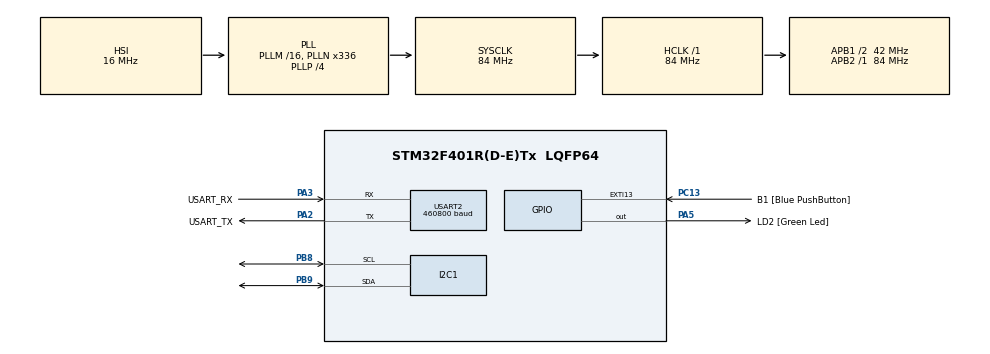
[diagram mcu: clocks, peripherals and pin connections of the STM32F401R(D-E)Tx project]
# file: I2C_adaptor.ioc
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Mcu.Family=STM32F4
Mcu.Name=STM32F401R(D-E)Tx
Mcu.Package=LQFP64
NVIC.PriorityGroup=NVIC_PRIORITYGROUP_0
NVIC.USART2_IRQn=true\:0\:0\:false\:false\:true\:true
PA13.GPIO_Label=TMS
PA13.Mode=Serial_Wire
PA13.Signal=SYS_JTMS-SWDIO
PA14.GPIO_Label=TCK
PA14.Mode=Serial_Wire
PA14.Signal=SYS_JTCK-SWCLK
PA2.GPIO_Label=USART_TX
PA2.GPIO_Mode=GPIO_MODE_AF_PP
PA2.GPIO_PuPd=GPIO_NOPULL
PA2.GPIO_Speed=GPIO_SPEED_FREQ_LOW
PA2.Mode=Asynchronous
PA2.Signal=USART2_TX
PA3.GPIO_Label=USART_RX
PA3.GPIO_Mode=GPIO_MODE_AF_PP
PA3.GPIO_PuPd=GPIO_NOPULL
PA3.GPIO_Speed=GPIO_SPEED_FREQ_LOW
PA3.Mode=Asynchronous
PA3.Signal=USART2_RX
PA5.GPIO_Label=LD2 [Green Led]
PA5.GPIO_Mode=GPIO_MODE_OUTPUT_PP
PA5.GPIO_PuPd=GPIO_NOPULL
PA5.GPIO_Speed=GPIO_SPEED_FREQ_LOW
PA5.Signal=GPIO_Output
PB3.GPIO_Label=SWO
PB3.Signal=SYS_JTDO-SWO
PB8.Mode=I2C
PB8.Signal=I2C1_SCL
PB9.Mode=I2C
PB9.Signal=I2C1_SDA
PC13-ANTI_TAMP.GPIO_Label=B1 [Blue PushButton]
PC13-ANTI_TAMP.GPIO_ModeDefaultEXTI=GPIO_MODE_IT_FALLING
PC13-ANTI_TAMP.GPIO_PuPd=GPIO_NOPULL
PC13-ANTI_TAMP.Signal=GPXTI13
PC14-OSC32_IN.Mode=LSE-External-Oscillator
PC14-OSC32_IN.Signal=RCC_OSC32_IN
PC15-OSC32_OUT.Mode=LSE-External-Oscillator
PC15-OSC32_OUT.Signal=RCC_OSC32_OUT
PH0\ -\ OSC_IN.Mode=HSE-External-Clock-Source
PH0\ -\ OSC_IN.Signal=RCC_OSC_IN
PH1\ -\ OSC_OUT.Mode=HSE-External-Clock-Source
PH1\ -\ OSC_OUT.Signal=RCC_OSC_OUT
ProjectManager.HeapSize=0x200
ProjectManager.StackSize=0x400
ProjectManager.TargetToolchain=TrueSTUDIO
RCC.48MHZClocksFreq_Value=48000000
RCC.AHBFreq_Value=84000000
RCC.APB1CLKDivider=RCC_HCLK_DIV2
RCC.APB1Freq_Value=42000000
RCC.APB1TimFreq_Value=84000000
RCC.APB2Freq_Value=84000000
RCC.APB2TimFreq_Value=84000000
RCC.CortexFreq_Value=84000000
RCC.HCLKFreq_Value=84000000
RCC.HSE_VALUE=8000000
RCC.HSI_VALUE=16000000
RCC.PLLN=336
RCC.PLLP=RCC_PLLP_DIV4
RCC.PLLQ=7
RCC.SYSCLKFreq_VALUE=84000000
RCC.SYSCLKSource=RCC_SYSCLKSOURCE_PLLCLK
RCC.VCOOutputFreq_Value=336000000
USART2.BaudRate=460800
USART2.VirtualMode=VM_ASYNC
board=NUCLEO-F401RE

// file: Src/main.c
/* USER CODE BEGIN Header */
/**
  ******************************************************************************
  * @file           : main.c
  * @brief          : Main program body
  ******************************************************************************
  ** This notice applies to any and all portions of this file
  * that are not between comment pairs USER CODE BEGIN and
  * USER CODE END. Other portions of this file, whether
  * inserted by the user or by software development tools
  * are owned by their respective copyright owners.
  *
  * COPYRIGHT(c) 2018 STMicroelectronics
  *
  * Redistribution and use in source and binary forms, with or without modification,
  * are permitted provided that the following conditions are met:
  *   1. Redistributions of source code must retain the above copyright notice,
  *      this list of conditions and the following disclaimer.
  *   2. Redistributions in binary form must reproduce the above copyright notice,
  *      this list of conditions and the following disclaimer in the documentation
  *      and/or other materials provided with the distribution.
  *   3. Neither the name of STMicroelectronics nor the names of its contributors
  *      may be used to endorse or promote products derived from this software
  *      without specific prior written permission.
  *
  * THIS SOFTWARE IS PROVIDED BY THE COPYRIGHT HOLDERS AND CONTRIBUTORS "AS IS"
  * AND ANY EXPRESS OR IMPLIED WARRANTIES, INCLUDING, BUT NOT LIMITED TO, THE
  * IMPLIED WARRANTIES OF MERCHANTABILITY AND FITNESS FOR A PARTICULAR PURPOSE ARE
  * DISCLAIMED. IN NO EVENT SHALL THE COPYRIGHT HOLDER OR CONTRIBUTORS BE LIABLE
  * FOR ANY DIRECT, INDIRECT, INCIDENTAL, SPECIAL, EXEMPLARY, OR CONSEQUENTIAL
  * DAMAGES (INCLUDING, BUT NOT LIMITED TO, PROCUREMENT OF SUBSTITUTE GOODS OR
  * SERVICES; LOSS OF USE, DATA, OR PROFITS; OR BUSINESS INTERRUPTION) HOWEVER
  * CAUSED AND ON ANY THEORY OF LIABILITY, WHETHER IN CONTRACT, STRICT LIABILITY,
  * OR TORT (INCLUDING NEGLIGENCE OR OTHERWISE) ARISING IN ANY WAY OUT OF THE USE
  * OF THIS SOFTWARE, EVEN IF ADVISED OF THE POSSIBILITY OF SUCH DAMAGE.
  *
  ******************************************************************************
  */
/* USER CODE END Header */

#include "main.h"
#include "i2c.h"
#include "usart.h"
#include "gpio.h"

/* USER CODE BEGIN Includes */
#include "i2c_adaptor.h"
#include "stdbool.h"
/* USER CODE END Includes */

/* USER CODE BEGIN PV */

//uint16_t buffer[AMG8833_PIXEL_DATA_LENGTH_16bit] = { 0.0f };
uint8_t buffer[AMG8833_PIXEL_DATA_LENGTH] = { 0.0f };

// UART one-byte input buffer
uint8_t cmd;

volatile bool output_pixels = false;
volatile bool output_thermistor = false;
/* USER CODE END PV */

void SystemClock_Config(void);

int main(void)
{

  /* MCU Configuration--------------------------------------------------------*/

  /* Reset of all peripherals, Initializes the Flash interface and the Systick. */
  HAL_Init();

  /* Configure the system clock */
  SystemClock_Config();

  /* Initialize all configured peripherals */
  MX_GPIO_Init();
  MX_USART2_UART_Init();
  MX_I2C1_Init();
  /* USER CODE BEGIN 2 */
  i2c_adaptor_init(&hi2c1);
  HAL_UART_Receive_IT(&huart2, (uint8_t *)&cmd, 1);
  /* USER CODE END 2 */

  /* Infinite loop */
  /* USER CODE BEGIN WHILE */
  while (1)
  {

    if (output_pixels) {
      i2c_read_registors(AMG8833_DEV_ADDR, AMG8833_T01L_ADDR, buffer, AMG8833_PIXEL_DATA_LENGTH);
      HAL_UART_Transmit(&huart2, buffer, AMG8833_PIXEL_DATA_LENGTH, 3000);
      output_pixels = false;
    }

    if (output_thermistor) {
      i2c_read_registors(AMG8833_DEV_ADDR, AMG8833_TTHL_ADDR, buffer, 2);
      HAL_UART_Transmit(&huart2, buffer, 2, 3000);
      output_thermistor = false;
    }

    /* USER CODE END WHILE */

  }
}

void SystemClock_Config(void)
{
  RCC_OscInitTypeDef RCC_OscInitStruct = {0};
  RCC_ClkInitTypeDef RCC_ClkInitStruct = {0};

  /**Configure the main internal regulator output voltage
  */
  __HAL_RCC_PWR_CLK_ENABLE();
  __HAL_PWR_VOLTAGESCALING_CONFIG(PWR_REGULATOR_VOLTAGE_SCALE2);
  /**Initializes the CPU, AHB and APB busses clocks
  */
  RCC_OscInitStruct.OscillatorType = RCC_OSCILLATORTYPE_HSI;
  RCC_OscInitStruct.HSIState = RCC_HSI_ON;
  RCC_OscInitStruct.HSICalibrationValue = RCC_HSICALIBRATION_DEFAULT;
  RCC_OscInitStruct.PLL.PLLState = RCC_PLL_ON;
  RCC_OscInitStruct.PLL.PLLSource = RCC_PLLSOURCE_HSI;
  RCC_OscInitStruct.PLL.PLLM = 16;
  RCC_OscInitStruct.PLL.PLLN = 336;
  RCC_OscInitStruct.PLL.PLLP = RCC_PLLP_DIV4;
  RCC_OscInitStruct.PLL.PLLQ = 7;
  if (HAL_RCC_OscConfig(&RCC_OscInitStruct) != HAL_OK)
  {
    Error_Handler();
  }
  /**Initializes the CPU, AHB and APB busses clocks
  */
  RCC_ClkInitStruct.ClockType = RCC_CLOCKTYPE_HCLK|RCC_CLOCKTYPE_SYSCLK
                              |RCC_CLOCKTYPE_PCLK1|RCC_CLOCKTYPE_PCLK2;
  RCC_ClkInitStruct.SYSCLKSource = RCC_SYSCLKSOURCE_PLLCLK;
  RCC_ClkInitStruct.AHBCLKDivider = RCC_SYSCLK_DIV1;
  RCC_ClkInitStruct.APB1CLKDivider = RCC_HCLK_DIV2;
  RCC_ClkInitStruct.APB2CLKDivider = RCC_HCLK_DIV1;

  if (HAL_RCC_ClockConfig(&RCC_ClkInitStruct, FLASH_LATENCY_2) != HAL_OK)
  {
    Error_Handler();
  }
}

/* USER CODE BEGIN 4 */
/**
 * @brief  Retargets the C library printf function to the USART.
 * @param  None
 * @retval None
 */
int _write(int file, char *ptr, int len) {
  HAL_UART_Transmit(&huart2, (uint8_t *) ptr, (uint16_t) len, 0xFFFFFFFF);
  return len;
}

/*
 * One-byte command reception from an application processor
 */
void HAL_UART_RxCpltCallback(UART_HandleTypeDef *huart) {

  switch(cmd) {

  case 'p':
    output_pixels = true;
    break;
  case 't':
    output_thermistor = true;
    break;
  default:
    break;
  }

  HAL_UART_Receive_IT(&huart2, (uint8_t *)&cmd, 1);
}

/* USER CODE END 4 */

void Error_Handler(void)
{
}

/************************ (C) COPYRIGHT STMicroelectronics *****END OF FILE****/
